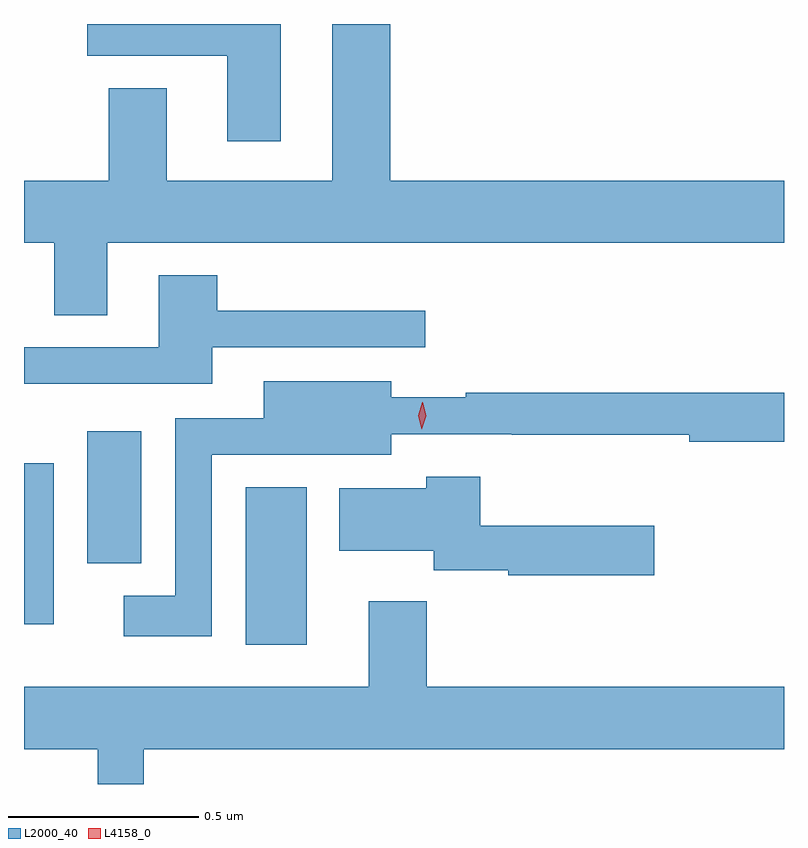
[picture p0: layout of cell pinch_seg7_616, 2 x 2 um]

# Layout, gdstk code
import gdstk
lib = gdstk.Library(unit=1e-6, precision=1e-09)
def R(c, l, rs):  # rectangles x0, y0, x1, y1
    for r in rs: c.add(gdstk.rectangle(r[:2], r[2:], *l))
def P(c, l, *ps):  # polygons
    for p in ps: c.add(gdstk.Polygon(p, *l))
L2000_40 = (2000, 40)
L4158_0 = (4158, 0)

pinch_seg7_616 = lib.new_cell('pinch_seg7_616')
R(pinch_seg7_616, L2000_40, [(230.147,1040.85,230.308,1041.265), (229.564,1040.904,229.642,1041.328), (229.73,1041.065,229.873,1041.412)])
P(pinch_seg7_616, L2000_40, [(229.783,1041.908),(231.564,1041.908),(231.564,1042.072),(230.528,1042.072),(230.528,1042.484),(230.375,1042.484),(230.375,1042.072),(229.939,1042.072),(229.939,1042.315),(229.787,1042.315),(229.787,1042.072),(229.564,1042.072),(229.564,1041.908),(229.643,1041.908),(229.643,1041.718),(229.783,1041.718)],
  [(230.239,1042.484),(229.73,1042.484),(229.73,1042.4),(230.099,1042.4),(230.099,1042.176),(230.239,1042.176)],
  [(230.059,1041.633),(230.62,1041.633),(230.62,1041.73),(230.072,1041.73),(230.072,1041.823),(229.919,1041.823),(229.919,1041.633),(229.564,1041.633),(229.564,1041.537),(230.059,1041.537)],
  [(230.058,1041.351),(230.304,1041.351),(230.304,1041.35),(230.53,1041.35),(230.53,1041.405),(230.848,1041.405),(230.848,1041.403),(231.315,1041.403),(231.315,1041.385),(231.564,1041.385),(231.564,1041.514),(230.726,1041.514),(230.726,1041.502),(230.53,1041.502),(230.53,1041.544),(230.195,1041.544),(230.195,1041.447),(229.962,1041.447),(229.962,1040.98),(229.827,1040.98),(229.827,1040.873),(230.058,1040.873)],
  [(231.223,1041.163),(230.765,1041.163),(230.765,1041.292),(230.623,1041.292),(230.623,1041.262),(230.393,1041.262),(230.393,1041.098),(230.642,1041.098),(230.642,1041.046),(230.838,1041.046),(230.838,1041.034),(231.223,1041.034)],
  [(229.879,1040.576),(231.564,1040.576),(231.564,1040.74),(230.624,1040.74),(230.624,1040.965),(230.471,1040.965),(230.471,1040.74),(229.564,1040.74),(229.564,1040.576),(229.758,1040.576),(229.758,1040.484),(229.879,1040.484)])
P(pinch_seg7_616, L4158_0, [(230.611,1041.417),(230.611,1041.417),(230.602,1041.453),(230.612,1041.489),(230.613,1041.489),(230.613,1041.489),(230.622,1041.453),(230.611,1041.417)])

lib.write_gds('pinch_seg7_616.gds')
